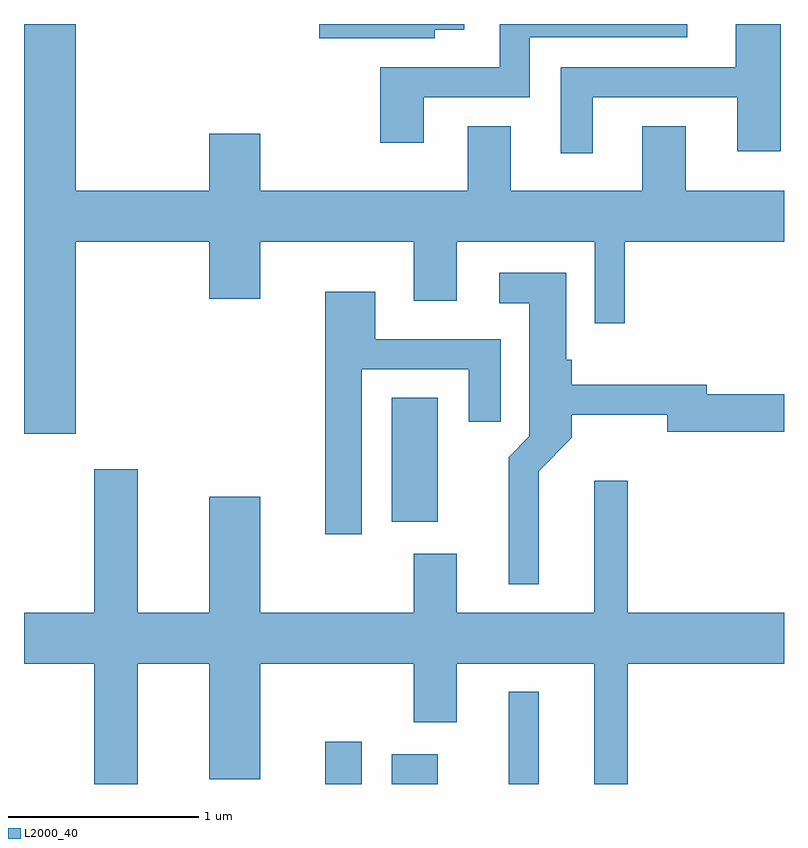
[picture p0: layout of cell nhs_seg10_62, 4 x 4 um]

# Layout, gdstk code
import gdstk
lib = gdstk.Library(unit=1e-6, precision=1e-09)
def R(c, l, rs):  # rectangles x0, y0, x1, y1
    for r in rs: c.add(gdstk.rectangle(r[:2], r[2:], *l))
def P(c, l, *ps):  # polygons
    for p in ps: c.add(gdstk.Polygon(p, *l))
L2000_40 = (2000, 40)

nhs_seg10_62 = lib.new_cell('nhs_seg10_62')
R(nhs_seg10_62, L2000_40, [(187.196,2206.522,187.389,2206.744), (187.546,2206.522,187.789,2206.679), (188.161,2206.522,188.319,2207.008), (187.546,2207.901,187.789,2208.554)])
P(nhs_seg10_62, L2000_40, [(187.714,2210.136),(188.274,2210.136),(188.274,2210.451),(189.103,2210.451),(189.103,2210.522),(188.116,2210.522),(188.116,2210.294),(187.486,2210.294),(187.486,2209.896),(187.714,2209.896)],
  [(185.884,2209.376),(186.586,2209.376),(186.586,2209.076),(186.854,2209.076),(186.854,2209.376),(187.661,2209.376),(187.661,2209.066),(187.889,2209.066),(187.889,2209.376),(188.616,2209.376),(188.616,2208.948),(188.774,2208.948),(188.774,2209.376),(189.611,2209.376),(189.611,2209.644),(189.094,2209.644),(189.094,2209.984),(188.866,2209.984),(188.866,2209.644),(188.174,2209.644),(188.174,2209.984),(187.946,2209.984),(187.946,2209.644),(186.854,2209.644),(186.854,2209.944),(186.586,2209.944),(186.586,2209.644),(185.884,2209.644),(185.884,2210.522),(185.611,2210.522),(185.611,2208.366),(185.884,2208.366)],
  [(188.604,2210.136),(189.366,2210.136),(189.366,2209.851),(189.594,2209.851),(189.594,2210.522),(189.356,2210.522),(189.356,2210.294),(188.436,2210.294),(188.436,2209.843),(188.604,2209.843)],
  [(187.774,2210.491),(187.929,2210.491),(187.929,2210.522),(187.166,2210.522),(187.166,2210.446),(187.774,2210.446)],
  [(188.319,2208.169),(188.494,2208.344),(188.494,2208.466),(188.996,2208.466),(188.996,2208.376),(189.611,2208.376),(189.611,2208.574),(189.204,2208.574),(189.204,2208.624),(188.494,2208.624),(188.494,2208.754),(188.464,2208.754),(188.464,2209.214),(188.113,2209.214),(188.113,2209.051),(188.271,2209.051),(188.271,2208.352),(188.161,2208.242),(188.161,2207.573),(188.319,2207.573)],
  [(187.389,2208.706),(187.951,2208.706),(187.951,2208.428),(188.119,2208.428),(188.119,2208.864),(187.459,2208.864),(187.459,2209.114),(187.196,2209.114),(187.196,2207.836),(187.389,2207.836)],
  [(186.209,2207.156),(186.586,2207.156),(186.586,2206.546),(186.854,2206.546),(186.854,2207.156),(187.661,2207.156),(187.661,2206.846),(187.889,2206.846),(187.889,2207.156),(188.611,2207.156),(188.611,2206.522),(188.789,2206.522),(188.789,2207.156),(189.611,2207.156),(189.611,2207.424),(188.789,2207.424),(188.789,2208.119),(188.611,2208.119),(188.611,2207.424),(187.889,2207.424),(187.889,2207.734),(187.661,2207.734),(187.661,2207.424),(186.854,2207.424),(186.854,2208.034),(186.586,2208.034),(186.586,2207.424),(186.209,2207.424),(186.209,2208.179),(185.981,2208.179),(185.981,2207.424),(185.611,2207.424),(185.611,2207.156),(185.981,2207.156),(185.981,2206.522),(186.209,2206.522)])

lib.write_gds('nhs_seg10_62.gds')
